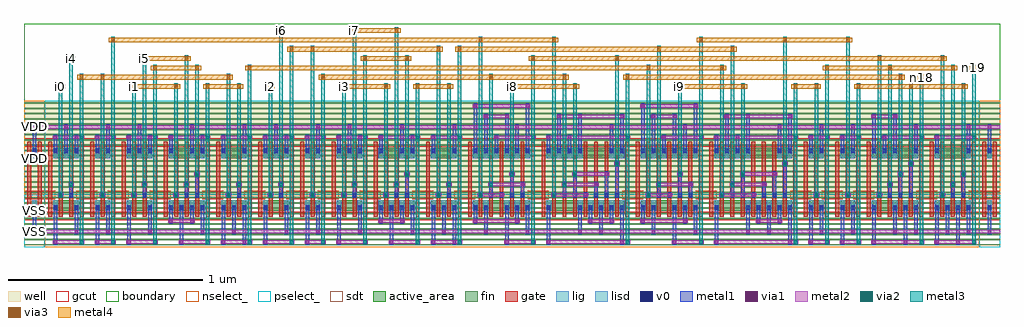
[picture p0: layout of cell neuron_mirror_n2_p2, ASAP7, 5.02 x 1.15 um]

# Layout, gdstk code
import gdstk
lib = gdstk.Library(unit=1e-6, precision=2.5e-10)
def R(c, l, rs):  # rectangles x0, y0, x1, y1
    for r in rs: c.add(gdstk.rectangle(r[:2], r[2:], *l))
def A(c, l, x, y, w, h, nx, ny, dx, dy):  # array of equal rectangles
    R(c, l, [(x+i*dx, y+j*dy, x+i*dx+w, y+j*dy+h) for i in range(nx) for j in range(ny)])
well = (1, 0)
fin = (2, 0)
gate = (7, 0)
gcut = (10, 0)
active_area = (11, 0)
nselect_ = (12, 0)
pselect_ = (13, 0)
lig = (16, 0)
lisd = (17, 0)
v0 = (18, 0)
metal1 = (19, 0)
metal2 = (20, 0)
via1 = (21, 0)
via2 = (25, 0)
metal3 = (30, 0)
via3 = (35, 0)
metal4 = (40, 0)
sdt = (88, 0)
boundary = (100, 0)

neuron_mirror_n2_p2 = lib.new_cell('neuron_mirror_n2_p2')
R(neuron_mirror_n2_p2, well, [(0,0.27,0.108,0.756), (0.108,0.27,0.324,0.756), (0.324,0.27,0.486,0.756), (0.486,0.27,0.702,0.756), (0.702,0.27,0.972,0.756), (0.972,0.27,1.188,0.756), (1.188,0.27,1.404,0.756), (1.404,0.27,1.566,0.756), (1.566,0.27,1.782,0.756), (1.782,0.27,2.052,0.756), (2.052,0.27,2.268,0.756), (2.268,0.27,2.646,0.756), (2.646,0.27,3.132,0.756), (3.132,0.27,3.51,0.756), (3.51,0.27,3.996,0.756), (3.996,0.27,4.158,0.756), (4.158,0.27,4.32,0.756), (4.32,0.27,4.644,0.756), (4.644,0.27,4.914,0.756), (4.914,0.27,5.022,0.756)])
A(neuron_mirror_n2_p2, fin, 0, 0.01, 0.108, 0.007, 1, 28, 0, 0.027)
A(neuron_mirror_n2_p2, fin, 0.108, 0.01, 0.216, 0.007, 1, 28, 0, 0.027)
A(neuron_mirror_n2_p2, fin, 0.324, 0.01, 0.162, 0.007, 1, 28, 0, 0.027)
A(neuron_mirror_n2_p2, fin, 0.486, 0.01, 0.216, 0.007, 1, 28, 0, 0.027)
A(neuron_mirror_n2_p2, fin, 0.702, 0.01, 0.27, 0.007, 1, 28, 0, 0.027)
A(neuron_mirror_n2_p2, fin, 0.972, 0.01, 0.216, 0.007, 1, 28, 0, 0.027)
A(neuron_mirror_n2_p2, fin, 1.188, 0.01, 0.216, 0.007, 1, 28, 0, 0.027)
A(neuron_mirror_n2_p2, fin, 1.404, 0.01, 0.162, 0.007, 1, 28, 0, 0.027)
A(neuron_mirror_n2_p2, fin, 1.566, 0.01, 0.216, 0.007, 1, 28, 0, 0.027)
A(neuron_mirror_n2_p2, fin, 1.782, 0.01, 0.27, 0.007, 1, 28, 0, 0.027)
A(neuron_mirror_n2_p2, fin, 2.052, 0.01, 0.216, 0.007, 1, 28, 0, 0.027)
A(neuron_mirror_n2_p2, fin, 2.268, 0.01, 0.378, 0.007, 1, 28, 0, 0.027)
A(neuron_mirror_n2_p2, fin, 2.646, 0.01, 0.486, 0.007, 1, 28, 0, 0.027)
A(neuron_mirror_n2_p2, fin, 3.132, 0.01, 0.378, 0.007, 1, 28, 0, 0.027)
A(neuron_mirror_n2_p2, fin, 3.51, 0.01, 0.486, 0.007, 1, 28, 0, 0.027)
A(neuron_mirror_n2_p2, fin, 3.996, 0.01, 0.162, 0.007, 1, 28, 0, 0.027)
A(neuron_mirror_n2_p2, fin, 4.158, 0.01, 0.162, 0.007, 1, 28, 0, 0.027)
A(neuron_mirror_n2_p2, fin, 4.32, 0.01, 0.324, 0.007, 1, 28, 0, 0.027)
A(neuron_mirror_n2_p2, fin, 4.644, 0.01, 0.27, 0.007, 1, 28, 0, 0.027)
A(neuron_mirror_n2_p2, fin, 4.914, 0.01, 0.108, 0.007, 1, 28, 0, 0.027)
A(neuron_mirror_n2_p2, gate, 0.017, 0.157, 0.02, 0.388, 93, 1, 0.054, 0)
R(neuron_mirror_n2_p2, gcut, [(0,0.14,0.108,0.184), (0.108,0.14,0.324,0.184), (0.324,0.14,0.486,0.184), (0.486,0.14,0.702,0.184), (0.702,0.14,0.972,0.184), (0.972,0.14,1.188,0.184), (1.188,0.14,1.404,0.184), (1.404,0.14,1.566,0.184), (1.566,0.14,1.782,0.184), (1.782,0.14,2.052,0.184), (2.052,0.14,2.268,0.184), (2.268,0.14,2.646,0.184), (2.646,0.14,3.132,0.184), (3.132,0.14,3.51,0.184), (3.51,0.14,3.996,0.184), (3.996,0.14,4.158,0.184), (4.158,0.14,4.32,0.184), (4.32,0.14,4.644,0.184), (4.644,0.14,4.914,0.184), (4.914,0.14,5.022,0.184), (0,0.248,0.108,0.292), (0.108,0.248,0.162,0.292), (0.27,0.248,0.324,0.292), (0.324,0.248,0.378,0.292), (0.432,0.248,0.486,0.292), (0.486,0.248,0.54,0.292), (0.648,0.248,0.702,0.292), (0.702,0.248,0.756,0.292), (0.918,0.248,0.972,0.292), (0.972,0.248,1.026,0.292), (1.134,0.248,1.188,0.292), (1.188,0.248,1.242,0.292), (1.35,0.248,1.404,0.292), (1.404,0.248,1.458,0.292), (1.512,0.248,1.566,0.292), (1.566,0.248,1.62,0.292), (1.728,0.248,1.782,0.292), (1.782,0.248,1.836,0.292), (1.998,0.248,2.052,0.292), (2.052,0.248,2.106,0.292), (2.214,0.248,2.268,0.292), (2.268,0.248,2.322,0.292), (2.592,0.248,2.646,0.292), (2.646,0.248,2.7,0.292), (3.078,0.248,3.132,0.292), (3.132,0.248,3.186,0.292), (3.456,0.248,3.51,0.292), (3.51,0.248,3.564,0.292), (3.942,0.248,3.996,0.292), (3.996,0.248,4.05,0.292), (4.104,0.248,4.158,0.292), (4.158,0.248,4.212,0.292), (4.266,0.248,4.32,0.292), (4.32,0.248,4.374,0.292), (4.59,0.248,4.644,0.292), (4.644,0.248,4.698,0.292), (4.86,0.248,4.914,0.292), (4.914,0.248,5.022,0.292), (0,0.518,0.108,0.562), (0.108,0.518,0.324,0.562), (0.324,0.518,0.486,0.562), (0.486,0.518,0.702,0.562), (0.702,0.518,0.972,0.562), (0.972,0.518,1.188,0.562), (1.188,0.518,1.404,0.562), (1.404,0.518,1.566,0.562), (1.566,0.518,1.782,0.562), (1.782,0.518,2.052,0.562), (2.052,0.518,2.268,0.562), (2.268,0.518,2.646,0.562), (2.646,0.518,3.132,0.562), (3.132,0.518,3.51,0.562), (3.51,0.518,3.996,0.562), (3.996,0.518,4.158,0.562), (4.158,0.518,4.32,0.562), (4.32,0.518,4.644,0.562), (4.644,0.518,4.914,0.562), (4.914,0.518,5.022,0.562)])
R(neuron_mirror_n2_p2, active_area, [(0.046,0.189,0.062,0.243), (0.154,0.189,0.278,0.243), (0.37,0.189,0.44,0.243), (0.532,0.189,0.656,0.243), (0.748,0.189,0.926,0.243), (1.018,0.189,1.142,0.243), (1.234,0.189,1.358,0.243), (1.45,0.189,1.52,0.243), (1.612,0.189,1.736,0.243), (1.828,0.189,2.006,0.243), (2.098,0.189,2.222,0.243), (2.314,0.189,2.6,0.243), (2.692,0.189,3.086,0.243), (3.178,0.189,3.464,0.243), (3.556,0.189,3.95,0.243), (4.042,0.189,4.112,0.243), (4.204,0.189,4.274,0.243), (4.366,0.189,4.598,0.243), (4.69,0.189,4.868,0.243), (4.96,0.189,4.976,0.243), (0.046,0.459,0.062,0.513), (0.154,0.459,0.278,0.513), (0.37,0.459,0.44,0.513), (0.532,0.459,0.656,0.513), (0.748,0.459,0.926,0.513), (1.018,0.459,1.142,0.513), (1.234,0.459,1.358,0.513), (1.45,0.459,1.52,0.513), (1.612,0.459,1.736,0.513), (1.828,0.459,2.006,0.513), (2.098,0.459,2.222,0.513), (2.314,0.459,2.6,0.513), (2.692,0.459,3.086,0.513), (3.178,0.459,3.464,0.513), (3.556,0.459,3.95,0.513), (4.042,0.459,4.112,0.513), (4.204,0.459,4.274,0.513), (4.366,0.459,4.598,0.513), (4.69,0.459,4.868,0.513), (4.96,0.459,4.976,0.513)])
R(neuron_mirror_n2_p2, nselect_, [(0.108,0,0.324,0.27), (0.324,0,0.486,0.27), (0.486,0,0.702,0.27), (0.702,0,0.972,0.27), (0.972,0,1.188,0.27), (1.188,0,1.404,0.27), (1.404,0,1.566,0.27), (1.566,0,1.782,0.27), (1.782,0,2.052,0.27), (2.052,0,2.268,0.27), (2.268,0,2.646,0.27), (2.646,0,3.132,0.27), (3.132,0,3.51,0.27), (3.51,0,3.996,0.27), (3.996,0,4.158,0.27), (4.158,0,4.32,0.27), (4.32,0,4.644,0.27), (4.644,0,4.914,0.27), (0,0.27,0.108,0.756), (4.914,0.27,5.022,0.756)])
R(neuron_mirror_n2_p2, pselect_, [(0,0,0.108,0.27), (4.914,0,5.022,0.27), (0.108,0.27,0.324,0.756), (0.324,0.27,0.486,0.756), (0.486,0.27,0.702,0.756), (0.702,0.27,0.972,0.756), (0.972,0.27,1.188,0.756), (1.188,0.27,1.404,0.756), (1.404,0.27,1.566,0.756), (1.566,0.27,1.782,0.756), (1.782,0.27,2.052,0.756), (2.052,0.27,2.268,0.756), (2.268,0.27,2.646,0.756), (2.646,0.27,3.132,0.756), (3.132,0.27,3.51,0.756), (3.51,0.27,3.996,0.756), (3.996,0.27,4.158,0.756), (4.158,0.27,4.32,0.756), (4.32,0.27,4.644,0.756), (4.644,0.27,4.914,0.756)])
A(neuron_mirror_n2_p2, lig, 0.232, 0.259, 0.022, 0.022, 3, 1, 0.162, 0)
A(neuron_mirror_n2_p2, lig, 0.772, 0.259, 0.022, 0.022, 3, 1, 0.054, 0)
A(neuron_mirror_n2_p2, lig, 1.312, 0.259, 0.022, 0.022, 3, 1, 0.162, 0)
A(neuron_mirror_n2_p2, lig, 1.852, 0.259, 0.022, 0.022, 3, 1, 0.054, 0)
A(neuron_mirror_n2_p2, lig, 2.338, 0.259, 0.022, 0.022, 5, 1, 0.054, 0)
A(neuron_mirror_n2_p2, lig, 2.716, 0.259, 0.022, 0.022, 7, 1, 0.054, 0)
A(neuron_mirror_n2_p2, lig, 3.202, 0.259, 0.022, 0.022, 5, 1, 0.054, 0)
A(neuron_mirror_n2_p2, lig, 3.58, 0.259, 0.022, 0.022, 7, 1, 0.054, 0)
A(neuron_mirror_n2_p2, lig, 4.066, 0.259, 0.022, 0.022, 3, 1, 0.162, 0)
A(neuron_mirror_n2_p2, lig, 4.444, 0.259, 0.022, 0.022, 3, 1, 0.054, 0)
A(neuron_mirror_n2_p2, lig, 4.714, 0.259, 0.022, 0.022, 3, 1, 0.054, 0)
R(neuron_mirror_n2_p2, lig, [(0.178,0.259,0.2,0.281), (0.61,0.259,0.632,0.281), (1.042,0.259,1.064,0.281), (1.096,0.259,1.118,0.281), (1.258,0.259,1.28,0.281), (1.69,0.259,1.712,0.281), (2.122,0.259,2.144,0.281), (2.176,0.259,2.198,0.281)])
A(neuron_mirror_n2_p2, lisd, 0.042, 0.189, 0.024, 0.054, 4, 1, 0.108, 0)
A(neuron_mirror_n2_p2, lisd, 0.42, 0.189, 0.024, 0.054, 4, 1, 0.108, 0)
A(neuron_mirror_n2_p2, lisd, 0.798, 0.189, 0.024, 0.054, 3, 1, 0.054, 0)
A(neuron_mirror_n2_p2, lisd, 1.014, 0.189, 0.024, 0.054, 3, 1, 0.054, 0)
A(neuron_mirror_n2_p2, lisd, 1.23, 0.189, 0.024, 0.054, 3, 1, 0.108, 0)
A(neuron_mirror_n2_p2, lisd, 1.5, 0.189, 0.024, 0.054, 4, 1, 0.108, 0)
A(neuron_mirror_n2_p2, lisd, 1.878, 0.189, 0.024, 0.054, 3, 1, 0.054, 0)
A(neuron_mirror_n2_p2, lisd, 2.094, 0.189, 0.024, 0.054, 3, 1, 0.054, 0)
A(neuron_mirror_n2_p2, lisd, 2.472, 0.189, 0.024, 0.054, 3, 1, 0.054, 0)
A(neuron_mirror_n2_p2, lisd, 2.85, 0.189, 0.024, 0.054, 5, 1, 0.054, 0)
A(neuron_mirror_n2_p2, lisd, 3.336, 0.189, 0.024, 0.054, 3, 1, 0.054, 0)
A(neuron_mirror_n2_p2, lisd, 3.714, 0.189, 0.024, 0.054, 5, 1, 0.054, 0)
A(neuron_mirror_n2_p2, lisd, 4.254, 0.189, 0.024, 0.054, 3, 1, 0.108, 0)
A(neuron_mirror_n2_p2, lisd, 4.686, 0.189, 0.024, 0.054, 4, 1, 0.054, 0)
A(neuron_mirror_n2_p2, lisd, 0.15, 0.459, 0.024, 0.054, 3, 1, 0.054, 0)
A(neuron_mirror_n2_p2, lisd, 0.528, 0.459, 0.024, 0.054, 3, 1, 0.054, 0)
A(neuron_mirror_n2_p2, lisd, 0.906, 0.459, 0.024, 0.054, 4, 1, 0.108, 0)
A(neuron_mirror_n2_p2, lisd, 1.608, 0.459, 0.024, 0.054, 3, 1, 0.054, 0)
A(neuron_mirror_n2_p2, lisd, 1.986, 0.459, 0.024, 0.054, 4, 1, 0.108, 0)
A(neuron_mirror_n2_p2, lisd, 2.364, 0.459, 0.024, 0.054, 5, 1, 0.054, 0)
A(neuron_mirror_n2_p2, lisd, 2.688, 0.459, 0.024, 0.054, 4, 1, 0.054, 0)
A(neuron_mirror_n2_p2, lisd, 3.174, 0.459, 0.024, 0.054, 6, 1, 0.054, 0)
A(neuron_mirror_n2_p2, lisd, 3.552, 0.459, 0.024, 0.054, 4, 1, 0.054, 0)
A(neuron_mirror_n2_p2, lisd, 4.362, 0.459, 0.024, 0.054, 3, 1, 0.054, 0)
R(neuron_mirror_n2_p2, lisd, [(2.31,0.189,2.334,0.243), (2.364,0.189,2.388,0.243), (2.688,0.189,2.712,0.243), (3.174,0.189,3.198,0.243), (3.228,0.189,3.252,0.243), (3.552,0.189,3.576,0.243), (4.038,0.189,4.062,0.243), (4.092,0.189,4.116,0.243), (4.2,0.189,4.224,0.243), (4.524,0.189,4.548,0.243), (4.578,0.189,4.602,0.243), (4.956,0.189,4.98,0.243), (0.042,0.459,0.066,0.513), (0.366,0.459,0.39,0.513), (0.42,0.459,0.444,0.513), (0.744,0.459,0.768,0.513), (0.852,0.459,0.876,0.513), (1.284,0.459,1.308,0.513), (1.338,0.459,1.362,0.513), (1.446,0.459,1.47,0.513), (1.5,0.459,1.524,0.513), (1.824,0.459,1.848,0.513), (1.932,0.459,1.956,0.513), (3.012,0.459,3.036,0.513), (3.066,0.459,3.09,0.513), (3.876,0.459,3.9,0.513), (3.93,0.459,3.954,0.513), (4.038,0.459,4.062,0.513), (4.092,0.459,4.116,0.513), (4.2,0.459,4.224,0.513), (4.254,0.459,4.278,0.513), (4.578,0.459,4.602,0.513), (4.686,0.459,4.71,0.513), (4.848,0.459,4.872,0.513), (4.956,0.459,4.98,0.513)])
A(neuron_mirror_n2_p2, v0, 0.045, 0.1935, 0.018, 0.018, 4, 1, 0.108, 0)
A(neuron_mirror_n2_p2, v0, 0.423, 0.1935, 0.018, 0.018, 4, 1, 0.108, 0)
A(neuron_mirror_n2_p2, v0, 0.801, 0.1935, 0.018, 0.018, 3, 1, 0.054, 0)
A(neuron_mirror_n2_p2, v0, 1.017, 0.1935, 0.018, 0.018, 3, 1, 0.054, 0)
A(neuron_mirror_n2_p2, v0, 1.233, 0.1935, 0.018, 0.018, 3, 1, 0.108, 0)
A(neuron_mirror_n2_p2, v0, 1.503, 0.1935, 0.018, 0.018, 4, 1, 0.108, 0)
A(neuron_mirror_n2_p2, v0, 1.881, 0.1935, 0.018, 0.018, 3, 1, 0.054, 0)
A(neuron_mirror_n2_p2, v0, 2.097, 0.1935, 0.018, 0.018, 3, 1, 0.054, 0)
A(neuron_mirror_n2_p2, v0, 2.475, 0.1935, 0.018, 0.018, 3, 1, 0.054, 0)
A(neuron_mirror_n2_p2, v0, 2.853, 0.1935, 0.018, 0.018, 5, 1, 0.054, 0)
A(neuron_mirror_n2_p2, v0, 3.339, 0.1935, 0.018, 0.018, 3, 1, 0.054, 0)
A(neuron_mirror_n2_p2, v0, 3.717, 0.1935, 0.018, 0.018, 5, 1, 0.054, 0)
A(neuron_mirror_n2_p2, v0, 4.257, 0.1935, 0.018, 0.018, 3, 1, 0.108, 0)
A(neuron_mirror_n2_p2, v0, 4.689, 0.1935, 0.018, 0.018, 4, 1, 0.054, 0)
A(neuron_mirror_n2_p2, v0, 0.234, 0.261, 0.018, 0.018, 3, 1, 0.162, 0)
A(neuron_mirror_n2_p2, v0, 0.774, 0.261, 0.018, 0.018, 3, 1, 0.054, 0)
A(neuron_mirror_n2_p2, v0, 1.314, 0.261, 0.018, 0.018, 3, 1, 0.162, 0)
A(neuron_mirror_n2_p2, v0, 1.854, 0.261, 0.018, 0.018, 3, 1, 0.054, 0)
A(neuron_mirror_n2_p2, v0, 2.34, 0.261, 0.018, 0.018, 5, 1, 0.054, 0)
A(neuron_mirror_n2_p2, v0, 2.718, 0.261, 0.018, 0.018, 7, 1, 0.054, 0)
A(neuron_mirror_n2_p2, v0, 3.204, 0.261, 0.018, 0.018, 5, 1, 0.054, 0)
A(neuron_mirror_n2_p2, v0, 3.582, 0.261, 0.018, 0.018, 7, 1, 0.054, 0)
A(neuron_mirror_n2_p2, v0, 4.068, 0.261, 0.018, 0.018, 3, 1, 0.162, 0)
A(neuron_mirror_n2_p2, v0, 4.446, 0.261, 0.018, 0.018, 3, 1, 0.054, 0)
A(neuron_mirror_n2_p2, v0, 4.716, 0.261, 0.018, 0.018, 3, 1, 0.054, 0)
A(neuron_mirror_n2_p2, v0, 0.153, 0.4905, 0.018, 0.018, 3, 1, 0.054, 0)
A(neuron_mirror_n2_p2, v0, 0.531, 0.4905, 0.018, 0.018, 3, 1, 0.054, 0)
A(neuron_mirror_n2_p2, v0, 0.909, 0.4905, 0.018, 0.018, 4, 1, 0.108, 0)
A(neuron_mirror_n2_p2, v0, 1.611, 0.4905, 0.018, 0.018, 3, 1, 0.054, 0)
A(neuron_mirror_n2_p2, v0, 1.989, 0.4905, 0.018, 0.018, 4, 1, 0.108, 0)
A(neuron_mirror_n2_p2, v0, 2.367, 0.4905, 0.018, 0.018, 5, 1, 0.054, 0)
A(neuron_mirror_n2_p2, v0, 2.691, 0.4905, 0.018, 0.018, 4, 1, 0.054, 0)
A(neuron_mirror_n2_p2, v0, 3.177, 0.4905, 0.018, 0.018, 6, 1, 0.054, 0)
A(neuron_mirror_n2_p2, v0, 3.555, 0.4905, 0.018, 0.018, 4, 1, 0.054, 0)
A(neuron_mirror_n2_p2, v0, 4.365, 0.4905, 0.018, 0.018, 3, 1, 0.054, 0)
R(neuron_mirror_n2_p2, v0, [(2.313,0.1935,2.331,0.2115), (2.367,0.1935,2.385,0.2115), (2.691,0.1935,2.709,0.2115), (3.177,0.1935,3.195,0.2115), (3.231,0.1935,3.249,0.2115), (3.555,0.1935,3.573,0.2115), (4.041,0.1935,4.059,0.2115), (4.095,0.1935,4.113,0.2115), (4.203,0.1935,4.221,0.2115), (4.527,0.1935,4.545,0.2115), (4.581,0.1935,4.599,0.2115), (4.959,0.1935,4.977,0.2115), (0.18,0.261,0.198,0.279), (0.612,0.261,0.63,0.279), (1.044,0.261,1.062,0.279), (1.098,0.261,1.116,0.279), (1.26,0.261,1.278,0.279), (1.692,0.261,1.71,0.279), (2.124,0.261,2.142,0.279), (2.178,0.261,2.196,0.279), (0.045,0.4905,0.063,0.5085), (0.369,0.4905,0.387,0.5085), (0.423,0.4905,0.441,0.5085), (0.747,0.4905,0.765,0.5085), (0.855,0.4905,0.873,0.5085), (1.287,0.4905,1.305,0.5085), (1.341,0.4905,1.359,0.5085), (1.449,0.4905,1.467,0.5085), (1.503,0.4905,1.521,0.5085), (1.827,0.4905,1.845,0.5085), (1.935,0.4905,1.953,0.5085), (3.015,0.4905,3.033,0.5085), (3.069,0.4905,3.087,0.5085), (3.879,0.4905,3.897,0.5085), (3.933,0.4905,3.951,0.5085), (4.041,0.4905,4.059,0.5085), (4.095,0.4905,4.113,0.5085), (4.203,0.4905,4.221,0.5085), (4.257,0.4905,4.275,0.5085), (4.581,0.4905,4.599,0.5085), (4.689,0.4905,4.707,0.5085), (4.851,0.4905,4.869,0.5085), (4.959,0.4905,4.977,0.5085)])
A(neuron_mirror_n2_p2, metal1, 1.017, 0.013, 0.018, 0.2035, 3, 1, 0.108, 0)
A(neuron_mirror_n2_p2, metal1, 4.041, 0.013, 0.018, 0.2035, 5, 1, 0.162, 0)
A(neuron_mirror_n2_p2, metal1, 2.151, 0.067, 0.018, 0.1495, 3, 1, 0.216, 0)
A(neuron_mirror_n2_p2, metal1, 4.743, 0.067, 0.018, 0.1495, 3, 1, 0.108, 0)
A(neuron_mirror_n2_p2, metal1, 1.044, 0.256, 0.018, 0.028, 3, 1, 0.216, 0)
A(neuron_mirror_n2_p2, metal1, 4.068, 0.256, 0.018, 0.028, 3, 1, 0.162, 0)
A(neuron_mirror_n2_p2, metal1, 0.153, 0.4855, 0.018, 0.0955, 3, 1, 0.108, 0)
A(neuron_mirror_n2_p2, metal1, 0.531, 0.4855, 0.018, 0.0955, 3, 1, 0.108, 0)
A(neuron_mirror_n2_p2, metal1, 0.585, 0.4855, 0.018, 0.1495, 3, 1, 0.27, 0)
A(neuron_mirror_n2_p2, metal1, 1.233, 0.4855, 0.018, 0.0955, 3, 1, 0.108, 0)
A(neuron_mirror_n2_p2, metal1, 1.611, 0.4855, 0.018, 0.0955, 3, 1, 0.108, 0)
A(neuron_mirror_n2_p2, metal1, 1.665, 0.4855, 0.018, 0.1495, 3, 1, 0.27, 0)
R(neuron_mirror_n2_p2, metal1, [(0.153,0.013,0.171,0.2165), (0.369,0.013,0.387,0.2165), (0.531,0.013,0.549,0.2165), (0.801,0.013,0.819,0.2165), (1.449,0.013,1.467,0.2165), (1.611,0.013,1.629,0.2165), (1.881,0.013,1.899,0.2165), (2.097,0.013,2.115,0.2165), (2.205,0.013,2.223,0.2165), (2.475,0.013,2.493,0.2165), (2.691,0.013,2.709,0.2165), (3.069,0.013,3.087,0.2165), (3.339,0.013,3.357,0.2165), (3.555,0.013,3.573,0.2165), (3.933,0.013,3.951,0.2165), (4.797,0.013,4.815,0.2165), (0.045,0.067,0.063,0.2165), (0.261,0.067,0.279,0.2165), (0.423,0.067,0.441,0.2165), (0.639,0.067,0.657,0.2165), (0.909,0.067,0.927,0.2165), (1.071,0.067,1.089,0.2165), (1.341,0.067,1.359,0.2165), (1.503,0.067,1.521,0.2165), (1.719,0.067,1.737,0.2165), (1.989,0.067,2.007,0.2165), (2.853,0.067,2.871,0.2165), (2.961,0.067,2.979,0.2165), (3.231,0.067,3.249,0.2165), (3.447,0.067,3.465,0.2165), (3.717,0.067,3.735,0.2165), (3.825,0.067,3.843,0.2165), (4.095,0.067,4.113,0.2165), (4.257,0.067,4.275,0.2165), (4.473,0.067,4.491,0.2165), (4.581,0.067,4.599,0.2165), (0.747,0.121,0.765,0.2165), (0.855,0.121,0.873,0.2165), (1.827,0.121,1.845,0.2165), (1.935,0.121,1.953,0.2165), (2.313,0.121,2.331,0.2165), (2.529,0.121,2.547,0.2165), (2.907,0.121,2.925,0.2165), (3.015,0.121,3.033,0.2165), (3.177,0.121,3.195,0.2165), (3.393,0.121,3.411,0.2165), (3.771,0.121,3.789,0.2165), (3.879,0.121,3.897,0.2165), (0.18,0.256,0.198,0.284), (0.234,0.256,0.252,0.338), (0.396,0.256,0.414,0.284), (0.558,0.256,0.576,0.284), (0.612,0.256,0.63,0.338), (0.774,0.256,0.792,0.284), (0.828,0.256,0.846,0.338), (0.882,0.256,0.9,0.392), (1.098,0.256,1.116,0.338), (1.314,0.256,1.332,0.338), (1.638,0.256,1.656,0.284), (1.692,0.256,1.71,0.338), (1.854,0.256,1.872,0.284), (1.908,0.256,1.926,0.338), (1.962,0.256,1.98,0.392), (2.124,0.256,2.142,0.284), (2.178,0.256,2.196,0.338), (2.34,0.256,2.358,0.284), (2.394,0.256,2.412,0.338), (2.448,0.256,2.466,0.284), (2.502,0.256,2.52,0.392), (2.556,0.256,2.574,0.338), (2.718,0.256,2.736,0.284), (2.772,0.256,2.79,0.338), (2.826,0.256,2.844,0.392), (2.88,0.256,2.898,0.284), (2.934,0.256,2.952,0.338), (2.988,0.256,3.006,0.392), (3.042,0.256,3.06,0.446), (3.204,0.256,3.222,0.284), (3.258,0.256,3.276,0.338), (3.312,0.256,3.33,0.284), (3.366,0.256,3.384,0.392), (3.42,0.256,3.438,0.338), (3.582,0.256,3.6,0.284), (3.636,0.256,3.654,0.338), (3.69,0.256,3.708,0.392), (3.744,0.256,3.762,0.284), (3.798,0.256,3.816,0.338), (3.852,0.256,3.87,0.392), (3.906,0.256,3.924,0.446), (4.446,0.256,4.464,0.338), (4.5,0.256,4.518,0.392), (4.554,0.256,4.572,0.446), (4.716,0.256,4.734,0.284), (4.77,0.256,4.788,0.338), (4.824,0.256,4.842,0.392), (0.045,0.4855,0.063,0.635), (0.207,0.4855,0.225,0.635), (0.423,0.4855,0.441,0.635), (0.909,0.4855,0.927,0.581), (1.017,0.4855,1.035,0.581), (1.287,0.4855,1.305,0.635), (1.503,0.4855,1.521,0.635), (1.989,0.4855,2.007,0.581), (2.097,0.4855,2.115,0.581), (2.313,0.4855,2.331,0.743), (2.367,0.4855,2.385,0.689), (2.421,0.4855,2.439,0.581), (2.475,0.4855,2.493,0.689), (2.529,0.4855,2.547,0.635), (2.583,0.4855,2.601,0.743), (2.691,0.4855,2.709,0.581), (2.745,0.4855,2.763,0.689), (2.799,0.4855,2.817,0.581), (2.853,0.4855,2.871,0.689), (3.015,0.4855,3.033,0.635), (3.069,0.4855,3.087,0.689), (3.177,0.4855,3.195,0.743), (3.231,0.4855,3.249,0.689), (3.285,0.4855,3.303,0.581), (3.339,0.4855,3.357,0.689), (3.393,0.4855,3.411,0.635), (3.447,0.4855,3.465,0.743), (3.555,0.4855,3.573,0.581), (3.609,0.4855,3.627,0.689), (3.663,0.4855,3.681,0.581), (3.717,0.4855,3.735,0.689), (3.879,0.4855,3.897,0.635), (3.933,0.4855,3.951,0.689), (4.041,0.4855,4.059,0.581), (4.095,0.4855,4.113,0.635), (4.203,0.4855,4.221,0.581), (4.257,0.4855,4.275,0.635), (4.365,0.4855,4.383,0.689), (4.419,0.4855,4.437,0.581), (4.473,0.4855,4.491,0.689), (4.581,0.4855,4.599,0.635), (4.689,0.4855,4.707,0.581), (4.851,0.4855,4.869,0.635), (4.959,0.4855,4.977,0.635)])
A(neuron_mirror_n2_p2, metal2, 0.796, 0.018, 0.163, 0.018, 3, 1, 0.216, 0)
A(neuron_mirror_n2_p2, metal2, 0.742, 0.126, 0.136, 0.018, 3, 1, 1.08, 0)
A(neuron_mirror_n2_p2, metal2, 1.039, 0.261, 0.028, 0.018, 3, 1, 0.216, 0)
A(neuron_mirror_n2_p2, metal2, 4.063, 0.261, 0.028, 0.018, 3, 1, 0.162, 0)
A(neuron_mirror_n2_p2, metal2, 0.58, 0.612, 0.028, 0.018, 3, 1, 0.27, 0)
A(neuron_mirror_n2_p2, metal2, 1.66, 0.612, 0.028, 0.018, 3, 1, 0.27, 0)
R(neuron_mirror_n2_p2, metal2, [(0.148,0.018,0.311,0.036), (0.364,0.018,0.473,0.036), (0.526,0.018,0.689,0.036), (1.444,0.018,1.553,0.036), (1.606,0.018,1.769,0.036), (1.876,0.018,2.039,0.036), (2.092,0.018,2.255,0.036), (2.47,0.018,2.633,0.036), (2.686,0.018,3.119,0.036), (3.334,0.018,3.497,0.036), (3.55,0.018,3.983,0.036), (4.036,0.018,4.145,0.036), (4.198,0.018,4.307,0.036), (4.36,0.018,4.631,0.036), (4.684,0.018,4.901,0.036), (0,0.072,5.022,0.09), (0.04,0.072,0.068,0.09), (0.256,0.072,0.284,0.09), (0.418,0.072,0.446,0.09), (0.634,0.072,0.662,0.09), (0.904,0.072,0.932,0.09), (1.066,0.072,1.094,0.09), (1.336,0.072,1.364,0.09), (1.498,0.072,1.526,0.09), (1.714,0.072,1.742,0.09), (1.984,0.072,2.012,0.09), (2.146,0.072,2.174,0.09), (2.362,0.072,2.606,0.09), (2.848,0.072,2.984,0.09), (3.226,0.072,3.47,0.09), (3.712,0.072,3.848,0.09), (4.09,0.072,4.118,0.09), (4.252,0.072,4.28,0.09), (4.468,0.072,4.604,0.09), (4.738,0.072,4.874,0.09), (4.954,0.072,4.982,0.09), (2.308,0.126,2.552,0.144), (3.172,0.126,3.416,0.144), (3.766,0.126,3.902,0.144), (0.175,0.261,0.203,0.279), (0.391,0.261,0.419,0.279), (0.553,0.261,0.581,0.279), (0.769,0.261,0.797,0.279), (1.633,0.261,1.661,0.279), (1.849,0.261,1.877,0.279), (2.119,0.261,2.147,0.279), (2.335,0.261,2.471,0.279), (2.713,0.261,2.903,0.279), (3.199,0.261,3.335,0.279), (3.577,0.261,3.767,0.279), (4.711,0.261,4.739,0.279), (0.229,0.315,0.257,0.333), (0.607,0.315,0.635,0.333), (0.823,0.315,0.851,0.333), (1.093,0.315,1.121,0.333), (1.309,0.315,1.337,0.333), (1.687,0.315,1.715,0.333), (1.903,0.315,1.931,0.333), (2.173,0.315,2.201,0.333), (2.389,0.315,2.579,0.333), (2.767,0.315,2.957,0.333), (3.253,0.315,3.443,0.333), (3.631,0.315,3.821,0.333), (4.441,0.315,4.469,0.333), (4.765,0.315,4.793,0.333), (0.877,0.369,0.905,0.387), (1.957,0.369,1.985,0.387), (2.497,0.369,2.525,0.387), (2.821,0.369,3.011,0.387), (3.361,0.369,3.389,0.387), (3.685,0.369,3.875,0.387), (4.495,0.369,4.523,0.387), (4.819,0.369,4.847,0.387), (3.037,0.423,3.065,0.441), (3.901,0.423,3.929,0.441), (4.549,0.423,4.577,0.441), (0.148,0.558,0.311,0.576), (0.364,0.558,0.473,0.576), (0.526,0.558,0.689,0.576), (0.742,0.558,0.959,0.576), (1.012,0.558,1.175,0.576), (1.228,0.558,1.391,0.576), (1.444,0.558,1.553,0.576), (1.606,0.558,1.769,0.576), (1.822,0.558,2.039,0.576), (2.092,0.558,2.255,0.576), (2.416,0.558,2.633,0.576), (2.686,0.558,3.119,0.576), (3.28,0.558,3.497,0.576), (3.55,0.558,3.983,0.576), (4.036,0.558,4.145,0.576), (4.198,0.558,4.307,0.576), (4.414,0.558,4.631,0.576), (4.684,0.558,4.901,0.576), (0,0.612,5.022,0.63), (0.04,0.612,0.068,0.63), (0.202,0.612,0.23,0.63), (0.418,0.612,0.446,0.63), (1.282,0.612,1.31,0.63), (1.498,0.612,1.526,0.63), (2.524,0.612,2.552,0.63), (3.01,0.612,3.038,0.63), (3.388,0.612,3.416,0.63), (3.874,0.612,3.902,0.63), (4.09,0.612,4.118,0.63), (4.252,0.612,4.28,0.63), (4.576,0.612,4.604,0.63), (4.846,0.612,4.874,0.63), (4.954,0.612,4.982,0.63), (2.362,0.666,2.498,0.684), (2.74,0.666,3.092,0.684), (3.226,0.666,3.362,0.684), (3.604,0.666,3.956,0.684), (4.36,0.666,4.496,0.684), (2.308,0.72,2.606,0.738), (3.172,0.72,3.47,0.738)])
A(neuron_mirror_n2_p2, via1, 1.017, 0.018, 0.018, 0.018, 3, 1, 0.108, 0)
A(neuron_mirror_n2_p2, via1, 4.041, 0.018, 0.018, 0.018, 5, 1, 0.162, 0)
A(neuron_mirror_n2_p2, via1, 2.151, 0.072, 0.018, 0.018, 3, 1, 0.216, 0)
A(neuron_mirror_n2_p2, via1, 4.743, 0.072, 0.018, 0.018, 3, 1, 0.108, 0)
A(neuron_mirror_n2_p2, via1, 1.044, 0.261, 0.018, 0.018, 3, 1, 0.216, 0)
A(neuron_mirror_n2_p2, via1, 4.068, 0.261, 0.018, 0.018, 3, 1, 0.162, 0)
A(neuron_mirror_n2_p2, via1, 0.153, 0.558, 0.018, 0.018, 3, 1, 0.108, 0)
A(neuron_mirror_n2_p2, via1, 0.531, 0.558, 0.018, 0.018, 3, 1, 0.108, 0)
A(neuron_mirror_n2_p2, via1, 1.233, 0.558, 0.018, 0.018, 3, 1, 0.108, 0)
A(neuron_mirror_n2_p2, via1, 1.611, 0.558, 0.018, 0.018, 3, 1, 0.108, 0)
A(neuron_mirror_n2_p2, via1, 0.585, 0.612, 0.018, 0.018, 3, 1, 0.27, 0)
A(neuron_mirror_n2_p2, via1, 1.665, 0.612, 0.018, 0.018, 3, 1, 0.27, 0)
R(neuron_mirror_n2_p2, via1, [(0.153,0.018,0.171,0.036), (0.369,0.018,0.387,0.036), (0.531,0.018,0.549,0.036), (0.801,0.018,0.819,0.036), (1.449,0.018,1.467,0.036), (1.611,0.018,1.629,0.036), (1.881,0.018,1.899,0.036), (2.097,0.018,2.115,0.036), (2.205,0.018,2.223,0.036), (2.475,0.018,2.493,0.036), (2.691,0.018,2.709,0.036), (3.069,0.018,3.087,0.036), (3.339,0.018,3.357,0.036), (3.555,0.018,3.573,0.036), (3.933,0.018,3.951,0.036), (4.797,0.018,4.815,0.036), (0.045,0.072,0.063,0.09), (0.261,0.072,0.279,0.09), (0.423,0.072,0.441,0.09), (0.639,0.072,0.657,0.09), (0.909,0.072,0.927,0.09), (1.071,0.072,1.089,0.09), (1.341,0.072,1.359,0.09), (1.503,0.072,1.521,0.09), (1.719,0.072,1.737,0.09), (1.989,0.072,2.007,0.09), (2.853,0.072,2.871,0.09), (2.961,0.072,2.979,0.09), (3.231,0.072,3.249,0.09), (3.447,0.072,3.465,0.09), (3.717,0.072,3.735,0.09), (3.825,0.072,3.843,0.09), (4.095,0.072,4.113,0.09), (4.257,0.072,4.275,0.09), (4.473,0.072,4.491,0.09), (4.581,0.072,4.599,0.09), (0.747,0.126,0.765,0.144), (0.855,0.126,0.873,0.144), (1.827,0.126,1.845,0.144), (1.935,0.126,1.953,0.144), (2.313,0.126,2.331,0.144), (2.529,0.126,2.547,0.144), (2.907,0.126,2.925,0.144), (3.015,0.126,3.033,0.144), (3.177,0.126,3.195,0.144), (3.393,0.126,3.411,0.144), (3.771,0.126,3.789,0.144), (3.879,0.126,3.897,0.144), (0.18,0.261,0.198,0.279), (0.396,0.261,0.414,0.279), (0.558,0.261,0.576,0.279), (0.774,0.261,0.792,0.279), (1.638,0.261,1.656,0.279), (1.854,0.261,1.872,0.279), (2.124,0.261,2.142,0.279), (2.34,0.261,2.358,0.279), (2.448,0.261,2.466,0.279), (2.718,0.261,2.736,0.279), (2.88,0.261,2.898,0.279), (3.204,0.261,3.222,0.279), (3.312,0.261,3.33,0.279), (3.582,0.261,3.6,0.279), (3.744,0.261,3.762,0.279), (4.716,0.261,4.734,0.279), (0.234,0.315,0.252,0.333), (0.612,0.315,0.63,0.333), (0.828,0.315,0.846,0.333), (1.098,0.315,1.116,0.333), (1.314,0.315,1.332,0.333), (1.692,0.315,1.71,0.333), (1.908,0.315,1.926,0.333), (2.178,0.315,2.196,0.333), (2.394,0.315,2.412,0.333), (2.556,0.315,2.574,0.333), (2.772,0.315,2.79,0.333), (2.934,0.315,2.952,0.333), (3.258,0.315,3.276,0.333), (3.42,0.315,3.438,0.333), (3.636,0.315,3.654,0.333), (3.798,0.315,3.816,0.333), (4.446,0.315,4.464,0.333), (4.77,0.315,4.788,0.333), (0.882,0.369,0.9,0.387), (1.962,0.369,1.98,0.387), (2.502,0.369,2.52,0.387), (2.826,0.369,2.844,0.387), (2.988,0.369,3.006,0.387), (3.366,0.369,3.384,0.387), (3.69,0.369,3.708,0.387), (3.852,0.369,3.87,0.387), (4.5,0.369,4.518,0.387), (4.824,0.369,4.842,0.387), (3.042,0.423,3.06,0.441), (3.906,0.423,3.924,0.441), (4.554,0.423,4.572,0.441), (0.909,0.558,0.927,0.576), (1.017,0.558,1.035,0.576), (1.989,0.558,2.007,0.576), (2.097,0.558,2.115,0.576), (2.421,0.558,2.439,0.576), (2.691,0.558,2.709,0.576), (2.799,0.558,2.817,0.576), (3.285,0.558,3.303,0.576), (3.555,0.558,3.573,0.576), (3.663,0.558,3.681,0.576), (4.041,0.558,4.059,0.576), (4.203,0.558,4.221,0.576), (4.419,0.558,4.437,0.576), (4.689,0.558,4.707,0.576), (0.045,0.612,0.063,0.63), (0.207,0.612,0.225,0.63), (0.423,0.612,0.441,0.63), (1.287,0.612,1.305,0.63), (1.503,0.612,1.521,0.63), (2.529,0.612,2.547,0.63), (3.015,0.612,3.033,0.63), (3.393,0.612,3.411,0.63), (3.879,0.612,3.897,0.63), (4.095,0.612,4.113,0.63), (4.257,0.612,4.275,0.63), (4.581,0.612,4.599,0.63), (4.851,0.612,4.869,0.63), (4.959,0.612,4.977,0.63), (2.367,0.666,2.385,0.684), (2.475,0.666,2.493,0.684), (2.745,0.666,2.763,0.684), (2.853,0.666,2.871,0.684), (3.069,0.666,3.087,0.684), (3.231,0.666,3.249,0.684), (3.339,0.666,3.357,0.684), (3.609,0.666,3.627,0.684), (3.717,0.666,3.735,0.684), (3.933,0.666,3.951,0.684), (4.365,0.666,4.383,0.684), (4.473,0.666,4.491,0.684), (2.313,0.72,2.331,0.738), (2.583,0.72,2.601,0.738), (3.177,0.72,3.195,0.738), (3.447,0.72,3.465,0.738)])
A(neuron_mirror_n2_p2, via2, 0.936, 0.018, 0.018, 0.018, 3, 2, 0.216, 0.54)
A(neuron_mirror_n2_p2, via2, 3.96, 0.018, 0.018, 0.018, 3, 2, 0.162, 0.54)
A(neuron_mirror_n2_p2, via2, 1.044, 0.261, 0.018, 0.018, 3, 1, 0.216, 0)
A(neuron_mirror_n2_p2, via2, 4.068, 0.261, 0.018, 0.018, 3, 1, 0.162, 0)
R(neuron_mirror_n2_p2, via2, [(0.288,0.018,0.306,0.036), (0.45,0.018,0.468,0.036), (0.666,0.018,0.684,0.036), (1.53,0.018,1.548,0.036), (1.746,0.018,1.764,0.036), (2.016,0.018,2.034,0.036), (2.232,0.018,2.25,0.036), (2.61,0.018,2.628,0.036), (3.096,0.018,3.114,0.036), (3.474,0.018,3.492,0.036), (4.608,0.018,4.626,0.036), (4.878,0.018,4.896,0.036), (0.18,0.261,0.198,0.279), (0.396,0.261,0.414,0.279), (0.558,0.261,0.576,0.279), (0.774,0.261,0.792,0.279), (1.638,0.261,1.656,0.279), (1.854,0.261,1.872,0.279), (2.124,0.261,2.142,0.279), (2.34,0.261,2.358,0.279), (2.718,0.261,2.736,0.279), (3.204,0.261,3.222,0.279), (3.582,0.261,3.6,0.279), (4.716,0.261,4.734,0.279), (0.234,0.315,0.252,0.333), (0.612,0.315,0.63,0.333), (0.828,0.315,0.846,0.333), (1.098,0.315,1.116,0.333), (1.314,0.315,1.332,0.333), (1.692,0.315,1.71,0.333), (1.908,0.315,1.926,0.333), (2.178,0.315,2.196,0.333), (2.394,0.315,2.412,0.333), (2.772,0.315,2.79,0.333), (3.258,0.315,3.276,0.333), (3.636,0.315,3.654,0.333), (4.446,0.315,4.464,0.333), (4.77,0.315,4.788,0.333), (0.882,0.369,0.9,0.387), (1.962,0.369,1.98,0.387), (2.502,0.369,2.52,0.387), (2.826,0.369,2.844,0.387), (3.366,0.369,3.384,0.387), (3.69,0.369,3.708,0.387), (4.5,0.369,4.518,0.387), (4.824,0.369,4.842,0.387), (3.042,0.423,3.06,0.441), (3.906,0.423,3.924,0.441), (4.554,0.423,4.572,0.441), (0.288,0.558,0.306,0.576), (0.45,0.558,0.468,0.576), (0.666,0.558,0.684,0.576), (1.53,0.558,1.548,0.576), (1.746,0.558,1.764,0.576), (2.016,0.558,2.034,0.576), (2.232,0.558,2.25,0.576), (2.61,0.558,2.628,0.576), (3.096,0.558,3.114,0.576), (3.474,0.558,3.492,0.576), (4.608,0.558,4.626,0.576), (4.878,0.558,4.896,0.576)])
A(neuron_mirror_n2_p2, metal3, 0.936, 0.013, 0.018, 0.568, 3, 1, 0.216, 0)
A(neuron_mirror_n2_p2, metal3, 3.96, 0.013, 0.018, 0.568, 3, 1, 0.162, 0)
A(neuron_mirror_n2_p2, metal3, 2.718, 0.256, 0.018, 0.829, 3, 1, 0.756, 0)
R(neuron_mirror_n2_p2, metal3, [(0.288,0.013,0.306,0.581), (0.45,0.013,0.468,0.581), (0.666,0.013,0.684,0.581), (1.53,0.013,1.548,0.581), (1.746,0.013,1.764,0.581), (2.016,0.013,2.034,0.581), (2.232,0.013,2.25,0.581), (2.61,0.013,2.628,0.581), (3.096,0.013,3.114,0.581), (3.474,0.013,3.492,0.581), (4.608,0.013,4.626,0.581), (4.878,0.013,4.896,0.581), (0.18,0.256,0.198,0.845), (0.288,0.256,0.306,0.893), (0.396,0.256,0.414,0.893), (0.45,0.256,0.468,1.085), (0.558,0.256,0.576,0.845), (0.666,0.256,0.684,0.941), (0.774,0.256,0.792,0.845), (0.936,0.256,0.954,0.845), (1.044,0.256,1.062,0.893), (1.152,0.256,1.17,0.941), (1.26,0.256,1.278,0.845), (1.368,0.256,1.386,1.037), (1.476,0.256,1.494,1.037), (1.53,0.256,1.548,0.893), (1.638,0.256,1.656,0.845), (1.746,0.256,1.764,0.989), (1.854,0.256,1.872,0.845), (2.016,0.256,2.034,0.845), (2.124,0.256,2.142,1.037), (2.232,0.256,2.25,1.037), (2.34,0.256,2.358,1.085), (2.61,0.256,2.628,0.989), (3.096,0.256,3.114,0.893), (3.204,0.256,3.222,0.941), (3.582,0.256,3.6,0.941), (3.96,0.256,3.978,0.845), (4.068,0.256,4.086,0.845), (4.122,0.256,4.14,0.941), (4.284,0.256,4.302,0.845), (4.392,0.256,4.41,0.989), (4.608,0.256,4.626,0.893), (4.716,0.256,4.734,0.989), (4.878,0.256,4.896,0.941), (0.234,0.31,0.252,0.989), (0.612,0.31,0.63,0.989), (0.828,0.31,0.846,0.989), (1.098,0.31,1.116,0.845), (1.314,0.31,1.332,1.133), (1.692,0.31,1.71,1.133), (1.908,0.31,1.926,1.133), (2.178,0.31,2.196,0.845), (2.394,0.31,2.412,0.893), (2.772,0.31,2.79,0.893), (3.258,0.31,3.276,1.037), (3.636,0.31,3.654,1.037), (4.446,0.31,4.464,0.941), (4.77,0.31,4.788,0.941), (0.882,0.364,0.9,0.941), (1.962,0.364,1.98,0.989), (2.502,0.364,2.52,0.845), (2.826,0.364,2.844,0.845), (3.366,0.364,3.384,0.845), (3.69,0.364,3.708,0.845), (4.5,0.364,4.518,0.893), (4.824,0.364,4.842,0.845), (3.042,0.418,3.06,0.989), (3.906,0.418,3.924,1.085), (4.554,0.418,4.572,0.845)])
A(neuron_mirror_n2_p2, via3, 0.774, 0.816, 0.018, 0.024, 4, 1, 0.162, 0)
A(neuron_mirror_n2_p2, via3, 1.854, 0.816, 0.018, 0.024, 3, 1, 0.162, 0)
A(neuron_mirror_n2_p2, via3, 4.284, 0.816, 0.018, 0.024, 3, 1, 0.27, 0)
A(neuron_mirror_n2_p2, via3, 4.122, 0.912, 0.018, 0.024, 3, 1, 0.324, 0)
R(neuron_mirror_n2_p2, via3, [(0.18,0.816,0.198,0.84), (0.558,0.816,0.576,0.84), (1.638,0.816,1.656,0.84), (2.502,0.816,2.52,0.84), (2.826,0.816,2.844,0.84), (3.366,0.816,3.384,0.84), (3.69,0.816,3.708,0.84), (3.96,0.816,3.978,0.84), (4.068,0.816,4.086,0.84), (0.288,0.864,0.306,0.888), (0.396,0.864,0.414,0.888), (1.044,0.864,1.062,0.888), (1.53,0.864,1.548,0.888), (2.394,0.864,2.412,0.888), (2.772,0.864,2.79,0.888), (3.096,0.864,3.114,0.888), (4.5,0.864,4.518,0.888), (4.608,0.864,4.626,0.888), (0.666,0.912,0.684,0.936), (0.882,0.912,0.9,0.936), (1.152,0.912,1.17,0.936), (3.204,0.912,3.222,0.936), (3.582,0.912,3.6,0.936), (4.878,0.912,4.896,0.936), (0.234,0.96,0.252,0.984), (0.612,0.96,0.63,0.984), (0.828,0.96,0.846,0.984), (1.746,0.96,1.764,0.984), (1.962,0.96,1.98,0.984), (2.61,0.96,2.628,0.984), (3.042,0.96,3.06,0.984), (4.392,0.96,4.41,0.984), (4.716,0.96,4.734,0.984), (1.368,1.008,1.386,1.032), (1.476,1.008,1.494,1.032), (2.124,1.008,2.142,1.032), (2.232,1.008,2.25,1.032), (3.258,1.008,3.276,1.032), (3.636,1.008,3.654,1.032), (0.45,1.056,0.468,1.08), (2.34,1.056,2.358,1.08), (2.718,1.056,2.736,1.08), (3.474,1.056,3.492,1.08), (3.906,1.056,3.924,1.08), (4.23,1.056,4.248,1.08), (1.314,1.104,1.332,1.128), (1.692,1.104,1.71,1.128), (1.908,1.104,1.926,1.128)])
R(neuron_mirror_n2_p2, metal4, [(0.167,0.816,0.211,0.84), (0.545,0.816,0.805,0.84), (0.923,0.816,1.129,0.84), (1.247,0.816,1.291,0.84), (1.625,0.816,1.885,0.84), (2.003,0.816,2.209,0.84), (2.489,0.816,2.857,0.84), (3.353,0.816,3.721,0.84), (3.947,0.816,4.099,0.84), (4.271,0.816,4.855,0.84), (0.275,0.864,1.075,0.888), (1.517,0.864,2.803,0.888), (3.083,0.864,4.531,0.888), (4.595,0.864,4.639,0.888), (0.653,0.912,0.913,0.936), (1.139,0.912,3.613,0.936), (4.109,0.912,4.801,0.936), (4.865,0.912,4.909,0.936), (0.221,0.96,0.265,0.984), (0.599,0.96,0.859,0.984), (1.733,0.96,1.993,0.984), (2.597,0.96,4.747,0.984), (1.355,1.008,2.155,1.032), (2.219,1.008,3.667,1.032), (0.437,1.056,2.749,1.08), (3.461,1.056,4.261,1.08), (1.301,1.104,1.345,1.128), (1.679,1.104,1.939,1.128)])
A(neuron_mirror_n2_p2, sdt, 0.042, 0.189, 0.024, 0.054, 4, 1, 0.108, 0)
A(neuron_mirror_n2_p2, sdt, 0.42, 0.189, 0.024, 0.054, 4, 1, 0.108, 0)
A(neuron_mirror_n2_p2, sdt, 0.798, 0.189, 0.024, 0.054, 3, 1, 0.054, 0)
A(neuron_mirror_n2_p2, sdt, 1.014, 0.189, 0.024, 0.054, 3, 1, 0.054, 0)
A(neuron_mirror_n2_p2, sdt, 1.23, 0.189, 0.024, 0.054, 3, 1, 0.108, 0)
A(neuron_mirror_n2_p2, sdt, 1.5, 0.189, 0.024, 0.054, 4, 1, 0.108, 0)
A(neuron_mirror_n2_p2, sdt, 1.878, 0.189, 0.024, 0.054, 3, 1, 0.054, 0)
A(neuron_mirror_n2_p2, sdt, 2.094, 0.189, 0.024, 0.054, 3, 1, 0.054, 0)
A(neuron_mirror_n2_p2, sdt, 2.472, 0.189, 0.024, 0.054, 3, 1, 0.054, 0)
A(neuron_mirror_n2_p2, sdt, 2.85, 0.189, 0.024, 0.054, 5, 1, 0.054, 0)
A(neuron_mirror_n2_p2, sdt, 3.336, 0.189, 0.024, 0.054, 3, 1, 0.054, 0)
A(neuron_mirror_n2_p2, sdt, 3.714, 0.189, 0.024, 0.054, 5, 1, 0.054, 0)
A(neuron_mirror_n2_p2, sdt, 4.254, 0.189, 0.024, 0.054, 3, 1, 0.108, 0)
A(neuron_mirror_n2_p2, sdt, 4.686, 0.189, 0.024, 0.054, 4, 1, 0.054, 0)
A(neuron_mirror_n2_p2, sdt, 0.15, 0.459, 0.024, 0.054, 3, 1, 0.054, 0)
A(neuron_mirror_n2_p2, sdt, 0.528, 0.459, 0.024, 0.054, 3, 1, 0.054, 0)
A(neuron_mirror_n2_p2, sdt, 0.906, 0.459, 0.024, 0.054, 4, 1, 0.108, 0)
A(neuron_mirror_n2_p2, sdt, 1.608, 0.459, 0.024, 0.054, 3, 1, 0.054, 0)
A(neuron_mirror_n2_p2, sdt, 1.986, 0.459, 0.024, 0.054, 4, 1, 0.108, 0)
A(neuron_mirror_n2_p2, sdt, 2.364, 0.459, 0.024, 0.054, 5, 1, 0.054, 0)
A(neuron_mirror_n2_p2, sdt, 2.688, 0.459, 0.024, 0.054, 4, 1, 0.054, 0)
A(neuron_mirror_n2_p2, sdt, 3.174, 0.459, 0.024, 0.054, 6, 1, 0.054, 0)
A(neuron_mirror_n2_p2, sdt, 3.552, 0.459, 0.024, 0.054, 4, 1, 0.054, 0)
A(neuron_mirror_n2_p2, sdt, 4.362, 0.459, 0.024, 0.054, 3, 1, 0.054, 0)
R(neuron_mirror_n2_p2, sdt, [(2.31,0.189,2.334,0.243), (2.364,0.189,2.388,0.243), (2.688,0.189,2.712,0.243), (3.174,0.189,3.198,0.243), (3.228,0.189,3.252,0.243), (3.552,0.189,3.576,0.243), (4.038,0.189,4.062,0.243), (4.092,0.189,4.116,0.243), (4.2,0.189,4.224,0.243), (4.524,0.189,4.548,0.243), (4.578,0.189,4.602,0.243), (4.956,0.189,4.98,0.243), (0.042,0.459,0.066,0.513), (0.366,0.459,0.39,0.513), (0.42,0.459,0.444,0.513), (0.744,0.459,0.768,0.513), (0.852,0.459,0.876,0.513), (1.284,0.459,1.308,0.513), (1.338,0.459,1.362,0.513), (1.446,0.459,1.47,0.513), (1.5,0.459,1.524,0.513), (1.824,0.459,1.848,0.513), (1.932,0.459,1.956,0.513), (3.012,0.459,3.036,0.513), (3.066,0.459,3.09,0.513), (3.876,0.459,3.9,0.513), (3.93,0.459,3.954,0.513), (4.038,0.459,4.062,0.513), (4.092,0.459,4.116,0.513), (4.2,0.459,4.224,0.513), (4.254,0.459,4.278,0.513), (4.578,0.459,4.602,0.513), (4.686,0.459,4.71,0.513), (4.848,0.459,4.872,0.513), (4.956,0.459,4.98,0.513)])
R(neuron_mirror_n2_p2, boundary, [(0,0,5.022,1.152)])
neuron_mirror_n2_p2.add(gdstk.Label('VSS', (0.054,0.081), layer=20, texttype=251))
neuron_mirror_n2_p2.add(gdstk.Label('VDD', (0.054,0.621), layer=20, texttype=251))
neuron_mirror_n2_p2.add(gdstk.Label('VSS', (0.054,0.189), layer=3, texttype=251))
neuron_mirror_n2_p2.add(gdstk.Label('VDD', (0.054,0.459), layer=1, texttype=251))
neuron_mirror_n2_p2.add(gdstk.Label('i0', (0.189,0.828), layer=40, texttype=251))
neuron_mirror_n2_p2.add(gdstk.Label('i4', (0.243,0.972), layer=40, texttype=251))
neuron_mirror_n2_p2.add(gdstk.Label('i1', (0.567,0.828), layer=40, texttype=251))
neuron_mirror_n2_p2.add(gdstk.Label('i5', (0.621,0.972), layer=40, texttype=251))
neuron_mirror_n2_p2.add(gdstk.Label('i2', (1.269,0.828), layer=40, texttype=251))
neuron_mirror_n2_p2.add(gdstk.Label('i6', (1.323,1.116), layer=40, texttype=251))
neuron_mirror_n2_p2.add(gdstk.Label('i3', (1.647,0.828), layer=40, texttype=251))
neuron_mirror_n2_p2.add(gdstk.Label('i7', (1.701,1.116), layer=40, texttype=251))
neuron_mirror_n2_p2.add(gdstk.Label('i8', (2.511,0.828), layer=40, texttype=251))
neuron_mirror_n2_p2.add(gdstk.Label('i9', (3.375,0.828), layer=40, texttype=251))
neuron_mirror_n2_p2.add(gdstk.Label('n18', (4.617,0.876), layer=40, texttype=251))
neuron_mirror_n2_p2.add(gdstk.Label('n19', (4.887,0.924), layer=40, texttype=251))

lib.write_gds('neuron_mirror_n2_p2.gds')
